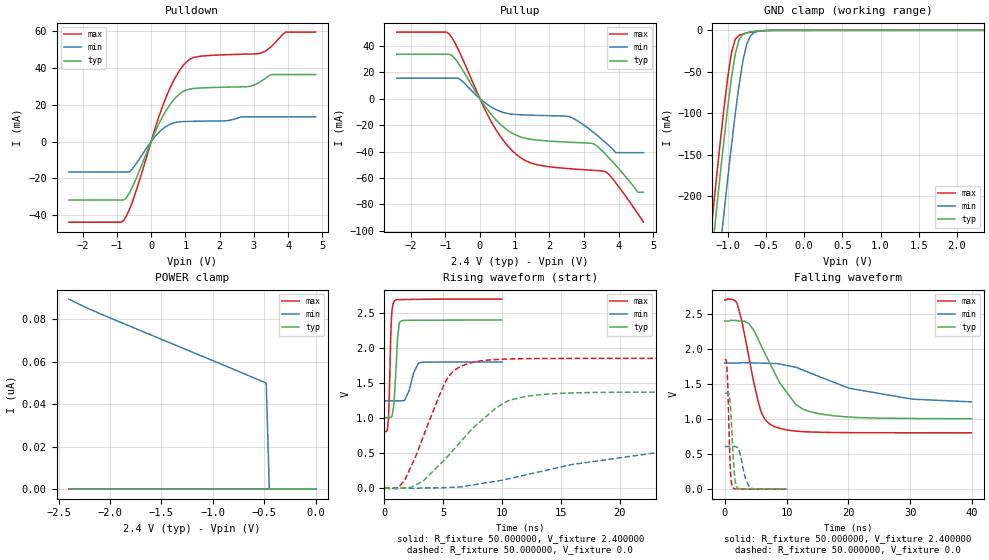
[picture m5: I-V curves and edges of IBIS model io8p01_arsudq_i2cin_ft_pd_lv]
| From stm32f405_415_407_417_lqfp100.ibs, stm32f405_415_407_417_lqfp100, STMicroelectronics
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|   Model io8p01_arsudq_i2cin_ft_pd_lv
[Model]  io8p01_arsudq_i2cin_ft_pd_lv
Model_type I/O
Polarity   Non-Inverting
Enable   Active-Low
Vinl =   0.720000V
Vinh =   1.680000V
Vmeas =  1.200000V
Cref =   50.000000pF
Rref =   100.000000M
Vref =   0.0V
C_comp   2.230300pF   2.174000pF   2.332300pF
[Temperature Range]   25.000000   0.125000k   -40.000000
[Pullup Reference]   2.400000V   1.800000V   2.700000V
[Pulldown Reference]   0.0V   0.0V   0.0V
[POWER Clamp Reference]   2.400000V   1.800000V   2.700000V
[GND Clamp Reference]   0.0V   0.0V   0.0V
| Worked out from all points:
|   slope of the pulldown table from 0 to 0.36 V, typ, clamps not added: 25 ohm
|   slope of the pullup table from 0 to 0.36 V, typ, clamps not added: 27.7 ohm
|   GND clamp passes 1 mA (typ) near -0.62 V on its own axis
|   rising waveform, R_fixture 50.000000, V_fixture 2.400000: 20-80 % time 273ps typ, 605ps min, 184ps max; typ from 1 V to 2.4 V
|   rising waveform, R_fixture 50.000000, V_fixture 0.0: 20-80 % time 4.8ns typ, 12.1ns min, 2.64ns max; typ from 0 V to 1.37 V
|   falling waveform, R_fixture 50.000000, V_fixture 2.400000: 20-80 % time 5.34ns typ, 12.6ns min, 2.67ns max; typ from 2.4 V to 1 V
|   falling waveform, R_fixture 50.000000, V_fixture 0.0: 20-80 % time 524ps typ, 972ps min, 384ps max; typ from 1.37 V to 0 V
[Pulldown]
|Voltage   I(typ)   I(min)   I(max)
-2.4V     -31.73mA   -16.51mA   -43.74mA
-800mV    -31.73mA   -16.51mA   -42.87mA
-480mV    -21.98mA   -13.17mA   -29.2mA
80mV      3.63mA     1.966mA    5.014mA
480mV     18.15mA    8.738mA    26.02mA
800mV     25.38mA    10.72mA    37.77mA
1.12V     28.53mA    11.02mA    44.6mA
2.8V      29.84mA    13.49mA    47.53mA
3.2V      32.65mA    13.49mA    48.04mA
3.52V     36.42mA    13.49mA    51.83mA
3.92V     36.42mA    13.49mA    59.49mA
4.8V      36.42mA    13.49mA    59.49mA
[Pullup]
|Voltage   I(typ)   I(min)   I(max)
-2.4V     33.57mA    15.56mA    50.37mA
-960mV    33.57mA    15.56mA    50.37mA
-560mV    24.29mA    14.3mA     33.54mA
320mV     -11.75mA   -6.207mA   -17.08mA
960mV     -26.47mA   -11.82mA   -40.02mA
1.52V     -30.88mA   -12.51mA   -49.05mA
2.56V     -32.88mA   -13.48mA   -52.9mA
3.28V     -34.19mA   -25.52mA   -54.18mA
3.6V      -41.31mA   -32.62mA   -54.97mA
3.92V     -50.32mA   -40.8mA    -63.63mA
4.56V     -70.8mA    -40.8mA    -87.08mA
4.72V     -70.8mA    -40.8mA    -93.4mA
[GND_clamp]
|Voltage   I(typ)   I(min)   I(max)
-2.4V     -1.424A    -1.508A    -1.393A
-1.25V    -311.2mA   -401.9mA   -273.3mA
-1.2V     -265.4mA   -356.1mA   -227.2mA
-1.15V    -220.4mA   -310.8mA   -181.9mA
-1.1V     -176.3mA   -266.2mA   -137.9mA
-1.05V    -133.8mA   -222.5mA   -95.87mA
-950mV    -57.3mA    -138.9mA   -26.99mA
-900mV    -28.28mA   -100.4mA   -10.6mA
-850mV    -11.02mA   -65.54mA   -5.972mA
-750mV    -2.846mA   -16.51mA   -3.192mA
-600mV    -761.3uA   -1.173mA   -751.9uA
2.35V     58.09uA    37.92uA    67.25uA
[POWER_clamp]
|Voltage   I(typ)   I(min)   I(max)
-2.4V     0A         89.62nA    0A
-2.04V    0A         81.57nA    0A
-480mV    0A         50.01nA    0A
-450mV    0A         0A         0A
0V        0A         0A         0A
[Ramp]
| variable   typ   min   max
dV/dt_r  0.82158/4.79824n   0.38411/12.99045n   1.11042/2.64258n
dV/dt_f  0.83670/5.34237n   0.32364/13.42571n   1.13744/2.67157n
R_load = 50.000000
[Rising Waveform]
R_fixture= 50.000000
V_fixture= 2.400000
V_fixture_min= 1.800000
V_fixture_max= 2.700000
|time   V(typ)   V(min)   V(max)
0s        1.005V     1.245V     804.2mV
240.2ps   1.005V     1.245V     824.9mV
340.3ps   1.005V     1.245V     987.2mV
600.6ps   1.014V     1.246V     2.44V
860.9ps   1.346V     1.246V     2.674V
1.121ns   2.146V     1.245V     2.689V
1.381ns   2.381V     1.244V     2.691V
1.722ns   2.394V     1.251V     2.692V
2.903ns   2.395V     1.785V     2.696V
9.97ns    2.399V     1.799V     2.699V
[Rising Waveform]
R_fixture= 50.000000
V_fixture= 0.0
V_fixture_min= 0.0
V_fixture_max= 0.0
|time   V(typ)   V(min)   V(max)
0s        178.1uV    73.91uV    433.7uV
1.201ns   -14.27mV   132.9uV    8.83mV
1.762ns   -1.061mV   -612.3uV   121.8mV
3.283ns   97.59mV    -600uV     725.8mV
5.125ns   404mV      3.401mV    1.498V
7.287ns   813.5mV    36mV       1.785V
10.49ns   1.244V     127.8mV    1.842V
13.13ns   1.33V      227.8mV    1.849V
24.82ns   1.369V     542.8mV    1.851V
39.88ns   1.369V     608.4mV    1.851V
[Falling Waveform]
R_fixture= 50.000000
V_fixture= 2.400000
V_fixture_min= 1.800000
V_fixture_max= 2.700000
|time   V(typ)   V(min)   V(max)
0s        2.399V     1.799V     2.699V
2.002ns   2.404V     1.8V       2.652V
2.803ns   2.397V     1.804V     2.387V
3.924ns   2.361V     1.803V     1.878V
5.766ns   2.072V     1.798V     1.136V
7.688ns   1.729V     1.794V     907.8mV
11.45ns   1.211V     1.739V     828.9mV
14.01ns   1.101V     1.651V     815.7mV
20.1ns    1.029V     1.44V      806.6mV
39.88ns   1.005V     1.245V     804.2mV
[Falling Waveform]
R_fixture= 50.000000
V_fixture= 0.0
V_fixture_min= 0.0
V_fixture_max= 0.0
|time   V(typ)   V(min)   V(max)
0s        1.369V     608.4mV    1.851V
380.4ps   1.369V     608.4mV    1.717V
480.5ps   1.369V     608.4mV    1.52V
880.9ps   1.253V     608.2mV    364.6mV
1.041ns   1.033V     607.9mV    129.9mV
1.261ns   648.8mV    607.8mV    34.04mV
1.702ns   115.4mV    609.8mV    4.511mV
2.062ns   17.39mV    592.2mV    2.525mV
3.864ns   1.054mV    51mV       1.255mV
9.97ns    178.1uV    73.91uV    433.7uV
